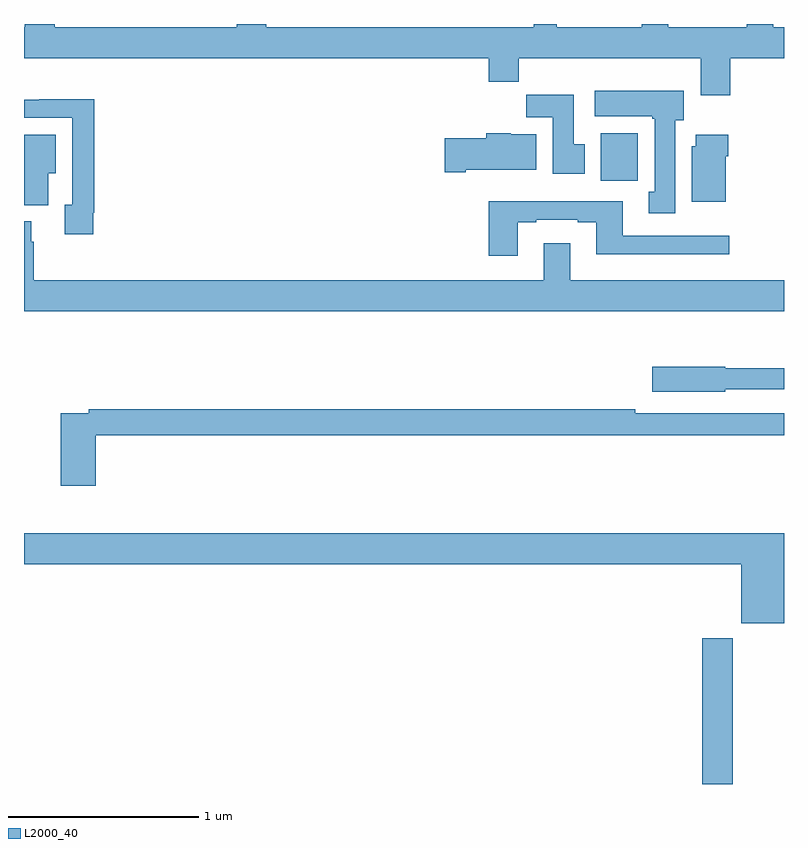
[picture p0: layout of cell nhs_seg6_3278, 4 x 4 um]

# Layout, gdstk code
import gdstk
lib = gdstk.Library(unit=1e-6, precision=1e-09)
def R(c, l, rs):  # rectangles x0, y0, x1, y1
    for r in rs: c.add(gdstk.rectangle(r[:2], r[2:], *l))
def P(c, l, *ps):  # polygons
    for p in ps: c.add(gdstk.Polygon(p, *l))
L2000_40 = (2000, 40)

nhs_seg6_3278 = lib.new_cell('nhs_seg6_3278')
R(nhs_seg6_3278, L2000_40, [(306.569,959.5,306.729,960.268), (306.035,962.676,306.231,962.926)])
P(nhs_seg6_3278, L2000_40, [(306.716,963.32),(307,963.32),(307,963.484),(306.943,963.484),(306.943,963.5),(306.803,963.5),(306.803,963.484),(306.391,963.484),(306.391,963.5),(306.252,963.5),(306.252,963.484),(305.803,963.484),(305.803,963.5),(305.682,963.5),(305.682,963.484),(304.274,963.484),(304.274,963.5),(304.121,963.5),(304.121,963.484),(303.161,963.484),(303.161,963.5),(303.005,963.5),(303.005,963.484),(303,963.484),(303,963.32),(305.447,963.32),(305.447,963.196),(305.603,963.196),(305.603,963.32),(306.563,963.32),(306.563,963.126),(306.716,963.126)],
  [(306.427,962.994),(306.472,962.994),(306.472,963.148),(306.003,963.148),(306.003,963.014),(306.307,963.014),(306.307,963.001),(306.32,963.001),(306.32,962.617),(306.287,962.617),(306.287,962.505),(306.427,962.505)],
  [(305.95,962.868),(305.893,962.868),(305.893,963.127),(305.644,963.127),(305.644,963.008),(305.783,963.008),(305.783,962.712),(305.95,962.712)],
  [(303.364,962.506),(303.371,962.506),(303.371,963.104),(303.079,963.104),(303.079,963.102),(303,963.102),(303,963.006),(303.255,963.006),(303.255,962.55),(303.215,962.55),(303.215,962.394),(303.364,962.394)],
  [(305.326,962.732),(305.695,962.732),(305.695,962.92),(305.562,962.92),(305.562,962.926),(305.432,962.926),(305.432,962.898),(305.214,962.898),(305.214,962.72),(305.326,962.72)],
  [(306.694,962.804),(306.707,962.804),(306.707,962.917),(306.536,962.917),(306.536,962.856),(306.515,962.856),(306.515,962.564),(306.694,962.564)],
  [(303.127,962.714),(303.166,962.714),(303.166,962.917),(303,962.917),(303,962.546),(303.127,962.546)],
  [(305.599,962.457),(305.695,962.457),(305.695,962.469),(305.915,962.469),(305.915,962.457),(306.011,962.457),(306.011,962.288),(306.712,962.288),(306.712,962.385),(306.151,962.385),(306.151,962.566),(305.447,962.566),(305.447,962.28),(305.599,962.28)],
  [(307,962.152),(305.875,962.152),(305.875,962.347),(305.735,962.347),(305.735,962.152),(303.05,962.152),(303.05,962.354),(303.037,962.354),(303.037,962.461),(303,962.461),(303,961.988),(307,961.988)],
  [(306.69,961.578),(307,961.578),(307,961.687),(306.69,961.687),(306.69,961.695),(306.306,961.695),(306.306,961.565),(306.69,961.565)],
  [(303.377,961.336),(307,961.336),(307,961.452),(306.218,961.452),(306.218,961.472),(303.34,961.472),(303.34,961.452),(303.194,961.452),(303.194,961.071),(303.377,961.071)],
  [(307,960.82),(303,960.82),(303,960.656),(306.776,960.656),(306.776,960.347),(307,960.347)])

lib.write_gds('nhs_seg6_3278.gds')
